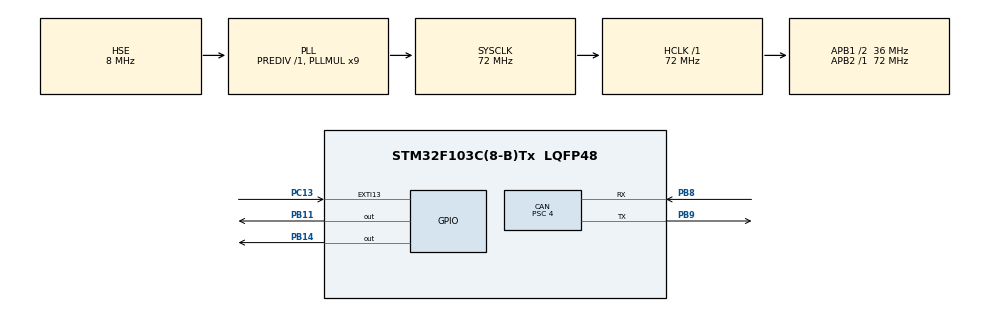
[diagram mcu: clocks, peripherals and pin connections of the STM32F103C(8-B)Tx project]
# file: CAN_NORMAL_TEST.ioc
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CAN.BS1=CAN_BS1_9TQ
CAN.BS2=CAN_BS2_8TQ
CAN.CalculateBaudRate=500000
CAN.CalculateTimeBit=1999.99
CAN.CalculateTimeQuantum=111.11111111111111
CAN.Mode=CAN_MODE_LOOPBACK
CAN.Prescaler=4
Mcu.Family=STM32F1
Mcu.Name=STM32F103C(8-B)Tx
Mcu.Package=LQFP48
NVIC.CAN1_RX1_IRQn=true\:2\:0\:true\:false\:true\:true\:true
NVIC.EXTI15_10_IRQn=true\:3\:0\:true\:false\:true\:true\:true
NVIC.PriorityGroup=NVIC_PRIORITYGROUP_4
NVIC.USB_HP_CAN1_TX_IRQn=true\:2\:0\:true\:false\:true\:true\:true
NVIC.USB_LP_CAN1_RX0_IRQn=true\:2\:0\:true\:false\:true\:true\:true
PA13.Mode=JTAG_4_pins
PA13.Signal=SYS_JTMS-SWDIO
PA14.Mode=JTAG_4_pins
PA14.Signal=SYS_JTCK-SWCLK
PA15.Mode=JTAG_4_pins
PA15.Signal=SYS_JTDI
PB11.PinState=GPIO_PIN_SET
PB11.Signal=GPIO_Output
PB14.Signal=GPIO_Output
PB3.Mode=JTAG_4_pins
PB3.Signal=SYS_JTDO-TRACESWO
PB8.Mode=CAN_Activate
PB8.Signal=CAN_RX
PB9.Mode=CAN_Activate
PB9.Signal=CAN_TX
PC13-TAMPER-RTC.Signal=GPXTI13
PD0-OSC_IN.Mode=HSE-External-Oscillator
PD0-OSC_IN.Signal=RCC_OSC_IN
PD1-OSC_OUT.Mode=HSE-External-Oscillator
PD1-OSC_OUT.Signal=RCC_OSC_OUT
ProjectManager.HeapSize=0x200
ProjectManager.StackSize=0x400
ProjectManager.TargetToolchain=EWARM V8.32
RCC.AHBFreq_Value=72000000
RCC.APB1CLKDivider=RCC_HCLK_DIV2
RCC.APB1Freq_Value=36000000
RCC.APB1TimFreq_Value=72000000
RCC.APB2Freq_Value=72000000
RCC.APB2TimFreq_Value=72000000
RCC.HCLKFreq_Value=72000000
RCC.PLLMUL=RCC_PLL_MUL9
RCC.PLLSourceVirtual=RCC_PLLSOURCE_HSE
RCC.SYSCLKFreq_VALUE=72000000
RCC.SYSCLKSource=RCC_SYSCLKSOURCE_PLLCLK
RCC.USBFreq_Value=72000000
board=custom

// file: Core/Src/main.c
/* USER CODE BEGIN Header */
/**
  ******************************************************************************
  * @file           : main.c
  * @brief          : Main program body
  ******************************************************************************
  * @attention
  *
  * <h2><center>&copy; Copyright (c) 2024 STMicroelectronics.
  * All rights reserved.</center></h2>
  *
  * This software component is licensed by ST under BSD 3-Clause license,
  * the "License"; You may not use this file except in compliance with the
  * License. You may obtain a copy of the License at:
  *                        opensource.org/licenses/BSD-3-Clause
  *
  ******************************************************************************
  */
/* USER CODE END Header */
#include "main.h"
#include "can.h"
#include "gpio.h"

/* USER CODE BEGIN Includes */
#include "SEGGER_RTT.h"

/* USER CODE END Includes */

/* USER CODE BEGIN PV */
  uint8_t CAN_SendBuf[8]={0x01,0x02,0x03,0x04,0x05,0x06,0x07,0x08};
  uint32_t CAN_ID=0x520;
/* USER CODE END PV */

void SystemClock_Config(void);

int main(void)
{

  /* MCU Configuration--------------------------------------------------------*/

  /* Reset of all peripherals, Initializes the Flash interface and the Systick. */
  HAL_Init();

  /* Configure the system clock */
  SystemClock_Config();

  /* Initialize all configured peripherals */
  MX_GPIO_Init();
  MX_CAN_Init();
  /* USER CODE BEGIN 2 */
  CAN_Start();
  SEGGER_RTT_Init();
  SEGGER_RTT_printf(0,"Init...\n");
  /* USER CODE END 2 */

  /* Infinite loop */
  while (1)
  {

  }
}

void SystemClock_Config(void)
{
  RCC_OscInitTypeDef RCC_OscInitStruct = {0};
  RCC_ClkInitTypeDef RCC_ClkInitStruct = {0};

  /** Initializes the RCC Oscillators according to the specified parameters
  * in the RCC_OscInitTypeDef structure.
  */
  RCC_OscInitStruct.OscillatorType = RCC_OSCILLATORTYPE_HSE;
  RCC_OscInitStruct.HSEState = RCC_HSE_ON;
  RCC_OscInitStruct.HSEPredivValue = RCC_HSE_PREDIV_DIV1;
  RCC_OscInitStruct.HSIState = RCC_HSI_ON;
  RCC_OscInitStruct.PLL.PLLState = RCC_PLL_ON;
  RCC_OscInitStruct.PLL.PLLSource = RCC_PLLSOURCE_HSE;
  RCC_OscInitStruct.PLL.PLLMUL = RCC_PLL_MUL9;
  if (HAL_RCC_OscConfig(&RCC_OscInitStruct) != HAL_OK)
  {
    Error_Handler();
  }
  /** Initializes the CPU, AHB and APB buses clocks
  */
  RCC_ClkInitStruct.ClockType = RCC_CLOCKTYPE_HCLK|RCC_CLOCKTYPE_SYSCLK
                              |RCC_CLOCKTYPE_PCLK1|RCC_CLOCKTYPE_PCLK2;
  RCC_ClkInitStruct.SYSCLKSource = RCC_SYSCLKSOURCE_PLLCLK;
  RCC_ClkInitStruct.AHBCLKDivider = RCC_SYSCLK_DIV1;
  RCC_ClkInitStruct.APB1CLKDivider = RCC_HCLK_DIV2;
  RCC_ClkInitStruct.APB2CLKDivider = RCC_HCLK_DIV1;

  if (HAL_RCC_ClockConfig(&RCC_ClkInitStruct, FLASH_LATENCY_2) != HAL_OK)
  {
    Error_Handler();
  }
}

/* USER CODE BEGIN 4 */
void HAL_GPIO_EXTI_Callback(uint16_t GPIO_Pin)
{
  if (GPIO_Pin == GPIO_PIN_13)
  {
    if(HAL_GPIO_ReadPin(GPIOC,GPIO_PIN_13)==GPIO_PIN_SET)
    {
      HAL_Delay(10);
      if (HAL_GPIO_ReadPin(GPIOC, GPIO_PIN_13) == GPIO_PIN_SET)
      {
        SEGGER_RTT_printf(0, "Send       ");
        SEGGER_RTT_printf(0, "ID: 0x%08X | DLC: %d | IDE: %s | Data: ",
                          CAN_ID & 0x1FFFFFFF, 8, (CAN_ID & 0x80000000) ? "Extended" : "Standard");

        for (uint8_t i = 0; i < 8; i++)
        {
          SEGGER_RTT_printf(0, "%02X ", CAN_SendBuf[i]);
        }
        // 实际发送CAN消息
        CAN_SendMsg(CAN_ID, CAN_SendBuf, 8);
      }
    }
  }

}

/* USER CODE END 4 */

void Error_Handler(void)
{
  __disable_irq();
  while (1)
  {
  }
}

/************************ (C) COPYRIGHT STMicroelectronics *****END OF FILE****/
